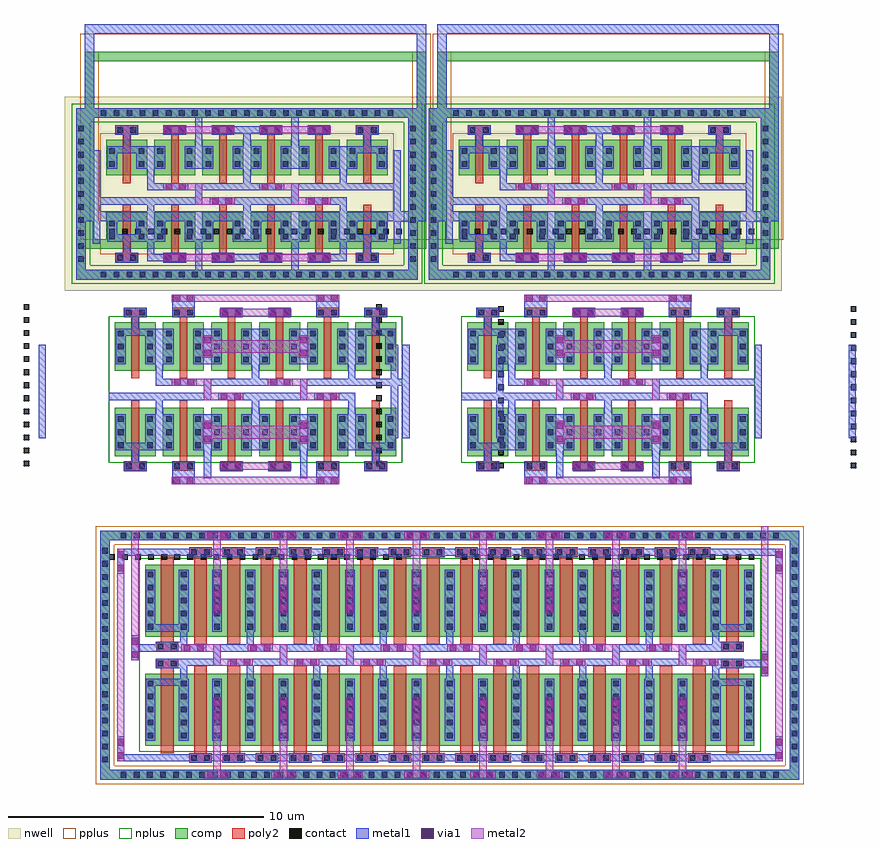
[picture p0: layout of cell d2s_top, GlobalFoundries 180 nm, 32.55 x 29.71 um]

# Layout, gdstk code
from math import pi, radians
import gdstk
lib = gdstk.Library(unit=1e-6, precision=5e-09)
def R(c, l, rs):  # rectangles x0, y0, x1, y1
    for r in rs: c.add(gdstk.rectangle(r[:2], r[2:], *l))
def A(c, l, x, y, w, h, nx, ny, dx, dy):  # array of equal rectangles
    R(c, l, [(x+i*dx, y+j*dy, x+i*dx+w, y+j*dy+h) for i in range(nx) for j in range(ny)])
nwell = (21, 0)
comp = (22, 0)
poly2 = (30, 0)
pplus = (31, 0)
nplus = (32, 0)
contact = (33, 0)
metal1 = (34, 0)
via1 = (35, 0)
metal2 = (36, 0)

d2s_ncell_1_1_1 = lib.new_cell('d2s_ncell_1$1$1')
R(d2s_ncell_1_1_1, comp, [(0,0.3,0.46,2.2), (0.46,0.3,1.14,2.2), (1.14,0.3,1.6,2.2)])
R(d2s_ncell_1_1_1, poly2, [(0.65,0,0.95,2.5)])
A(d2s_ncell_1_1_1, contact, 0.12, 0.63, 0.22, 0.22, 1, 3, 0, 0.51)
A(d2s_ncell_1_1_1, contact, 1.26, 0.63, 0.22, 0.22, 1, 3, 0, 0.51)
R(d2s_ncell_1_1_1, metal1, [(0.04,0.55,0.42,1.95), (1.18,0.55,1.56,1.95)])

d2s_ncell_4_1 = lib.new_cell('d2s_ncell_4$1')
A(d2s_ncell_4_1, poly2, 0.365, 2.4, 0.87, 0.36, 6, 1, 1.88, 0)
R(d2s_ncell_4_1, contact, [(0.435,2.47,0.655,2.69), (0.945,2.47,1.165,2.69), (2.315,2.47,2.535,2.69), (2.825,2.47,3.045,2.69), (4.195,2.47,4.415,2.69), (4.705,2.47,4.925,2.69), (6.075,2.47,6.295,2.69), (6.585,2.47,6.805,2.69), (7.955,2.47,8.175,2.69), (8.465,2.47,8.685,2.69), (9.835,2.47,10.055,2.69), (10.345,2.47,10.565,2.69)])
A(d2s_ncell_4_1, metal1, 1.56, 0.55, 0.36, 1.4, 5, 1, 1.88, 0)
R(d2s_ncell_4_1, metal1, [(0.355,2.39,1.245,2.77), (2.235,2.39,3.125,3.28), (4.115,2.39,5.005,2.77), (5.995,2.39,6.885,2.77), (7.875,2.39,8.765,3.28), (9.755,2.39,10.645,2.77)])
R(d2s_ncell_4_1, via1, [(3.49,0.86,3.75,1.12), (7.25,0.86,7.51,1.12), (3.49,1.38,3.75,1.64), (7.25,1.38,7.51,1.64), (4.17,2.45,4.43,2.71), (4.69,2.45,4.95,2.71), (6.055,2.45,6.315,2.71), (6.575,2.45,6.835,2.71), (2.29,3.01,2.55,3.27), (2.81,3.01,3.07,3.27), (7.93,3.01,8.19,3.27), (8.45,3.01,8.71,3.27)])
R(d2s_ncell_4_1, metal2, [(3.43,0.805,3.81,1.695), (7.19,0.805,7.57,1.695)])
d2s_ncell_4_1.add(gdstk.FlexPath([(9.82,1.81),(10.58,1.81)], 0.28, ends="flush", simple_path=True, layer=34, datatype=0))  # metal1
d2s_ncell_4_1.add(gdstk.FlexPath([(10.2,2.39),(10.2,1.95)], 0.28, ends="flush", simple_path=True, layer=34, datatype=0))  # metal1
d2s_ncell_4_1.add(gdstk.FlexPath([(0.8,2.39),(0.8,1.95)], 0.28, ends="flush", simple_path=True, layer=34, datatype=0))  # metal1
d2s_ncell_4_1.add(gdstk.FlexPath([(0.42,1.81),(1.18,1.81)], 0.28, ends="flush", simple_path=True, layer=34, datatype=0))  # metal1
d2s_ncell_4_1.add(gdstk.FlexPath([(3.81,1.25),(7.19,1.25)], 0.5, ends="flush", simple_path=True, layer=36, datatype=0))  # metal2
d2s_ncell_4_1.add(gdstk.FlexPath([(6.89,2.58),(4.11,2.58)], 0.28, ends="flush", simple_path=True, layer=36, datatype=0))  # metal2
d2s_ncell_4_1.add(gdstk.FlexPath([(8.77,3.14),(2.23,3.14)], 0.28, ends="flush", simple_path=True, layer=36, datatype=0))  # metal2
d2s_ncell_4_1.add(gdstk.Reference(d2s_ncell_1_1_1, (0,0)))
d2s_ncell_4_1.add(gdstk.Reference(d2s_ncell_1_1_1, (1.88,0)))
d2s_ncell_4_1.add(gdstk.Reference(d2s_ncell_1_1_1, (3.76,0)))
d2s_ncell_4_1.add(gdstk.Reference(d2s_ncell_1_1_1, (5.64,0)))
d2s_ncell_4_1.add(gdstk.Reference(d2s_ncell_1_1_1, (7.52,0)))
d2s_ncell_4_1.add(gdstk.Reference(d2s_ncell_1_1_1, (9.4,0)))

d2s_ncell_top = lib.new_cell('d2s_ncell_top')
R(d2s_ncell_top, nplus, [(1.11,1.16,12.59,6.89)])
A(d2s_ncell_top, contact, 1.13, -2.64, 0.22, 0.22, 23, 2, 0.51, 12.73)
A(d2s_ncell_top, contact, 16.34, 0.935, 0.22, 0.22, 1, 13, 0, 0.51)
A(d2s_ncell_top, contact, -2.215, 1.015, 0.22, 0.22, 1, 13, 0, 0.51)
R(d2s_ncell_top, via1, [(5.49,3.615,5.75,3.875), (6.01,3.615,6.27,3.875), (9.25,3.615,9.51,3.875), (9.77,3.615,10.03,3.875), (3.67,4.175,3.93,4.435), (4.19,4.175,4.45,4.435), (7.43,4.175,7.69,4.435), (7.95,4.175,8.21,4.435)])
d2s_ncell_top.add(gdstk.FlexPath([(16.4,5.76),(16.4,2.11)], 0.28, ends="flush", simple_path=True, layer=34, datatype=0))  # metal1
d2s_ncell_top.add(gdstk.FlexPath([(-1.495,5.76),(-1.495,2.11)], 0.28, ends="flush", simple_path=True, layer=34, datatype=0))  # metal1
d2s_ncell_top.add(gdstk.FlexPath([(13.34,18.31),(13.34,10.79),(0.36,10.79),(0.36,18.12),(13.53,18.12)], 0.38, ends="flush", simple_path=True, layer=34, datatype=0))  # metal1
d2s_ncell_top.add(gdstk.FlexPath([(10.61,5),(10.61,4.445)], 0.28, ends="flush", simple_path=True, layer=34, datatype=0))  # metal1
d2s_ncell_top.add(gdstk.FlexPath([(6.85,5),(6.85,4.445)], 0.28, ends="flush", simple_path=True, layer=34, datatype=0))  # metal1
d2s_ncell_top.add(gdstk.FlexPath([(3.09,5),(3.09,4.445)], 0.28, ends="flush", simple_path=True, layer=34, datatype=0))  # metal1
d2s_ncell_top.add(gdstk.FlexPath([(6.37,4.305),(4.97,4.305),(4.97,3.745),(3.57,3.745)], 0.28, ends="flush", simple_path=True, layer=34, datatype=0))  # metal1
d2s_ncell_top.add(gdstk.FlexPath([(4.55,4.305),(3.57,4.305)], 0.28, ends="flush", simple_path=True, layer=34, datatype=0))  # metal1
d2s_ncell_top.add(gdstk.FlexPath([(6.37,3.745),(5.39,3.745)], 0.28, ends="flush", simple_path=True, layer=34, datatype=0))  # metal1
d2s_ncell_top.add(gdstk.FlexPath([(6.37,4.305),(7.33,4.305)], 0.28, ends="flush", simple_path=True, layer=34, datatype=0))  # metal1
d2s_ncell_top.add(gdstk.FlexPath([(6.37,3.745),(7.33,3.745)], 0.28, ends="flush", simple_path=True, layer=34, datatype=0))  # metal1
d2s_ncell_top.add(gdstk.FlexPath([(3.57,4.305),(2.95,4.305)], 0.28, ends="flush", simple_path=True, layer=34, datatype=0))  # metal1
d2s_ncell_top.add(gdstk.FlexPath([(3.57,3.745),(2.95,3.745)], 0.28, ends="flush", simple_path=True, layer=34, datatype=0))  # metal1
d2s_ncell_top.add(gdstk.FlexPath([(6.85,5),(6.85,4.445)], 0.28, ends="flush", simple_path=True, layer=34, datatype=0))  # metal1
d2s_ncell_top.add(gdstk.FlexPath([(10.13,4.305),(8.73,4.305),(8.73,3.745),(7.33,3.745)], 0.28, ends="flush", simple_path=True, layer=34, datatype=0))  # metal1
d2s_ncell_top.add(gdstk.FlexPath([(8.31,4.305),(7.33,4.305)], 0.28, ends="flush", simple_path=True, layer=34, datatype=0))  # metal1
d2s_ncell_top.add(gdstk.FlexPath([(10.13,3.745),(9.15,3.745)], 0.28, ends="flush", simple_path=True, layer=34, datatype=0))  # metal1
d2s_ncell_top.add(gdstk.FlexPath([(10.75,4.305),(10.13,4.305)], 0.28, ends="flush", simple_path=True, layer=34, datatype=0))  # metal1
d2s_ncell_top.add(gdstk.FlexPath([(10.75,3.745),(10.13,3.745)], 0.28, ends="flush", simple_path=True, layer=34, datatype=0))  # metal1
d2s_ncell_top.add(gdstk.FlexPath([(10.61,3.605),(10.61,3.05)], 0.28, ends="flush", simple_path=True, layer=34, datatype=0))  # metal1
d2s_ncell_top.add(gdstk.FlexPath([(6.85,3.605),(6.85,3.05)], 0.28, ends="flush", simple_path=True, layer=34, datatype=0))  # metal1
d2s_ncell_top.add(gdstk.FlexPath([(3.09,3.605),(3.09,3.05)], 0.28, ends="flush", simple_path=True, layer=34, datatype=0))  # metal1
d2s_ncell_top.add(gdstk.FlexPath([(6.85,3.605),(6.85,3.05)], 0.28, ends="flush", simple_path=True, layer=34, datatype=0))  # metal1
d2s_ncell_top.add(gdstk.FlexPath([(10.75,4.305),(12.59,4.305)], 0.28, ends="flush", simple_path=True, layer=34, datatype=0))  # metal1
d2s_ncell_top.add(gdstk.FlexPath([(1.11,3.745),(2.95,3.745)], 0.28, ends="flush", simple_path=True, layer=34, datatype=0))  # metal1
d2s_ncell_top.add(gdstk.FlexPath([(12.73,5.76),(12.73,2.11)], 0.28, ends="flush", simple_path=True, layer=34, datatype=0))  # metal1
d2s_ncell_top.add(gdstk.FlexPath([(8.73,0.55),(8.73,1.65)], 0.28, ends="flush", simple_path=True, layer=34, datatype=0))  # metal1
d2s_ncell_top.add(gdstk.FlexPath([(4.97,0.55),(4.97,1.65)], 0.28, ends="flush", simple_path=True, layer=34, datatype=0))  # metal1
d2s_ncell_top.add(gdstk.FlexPath([(13.34,17.23),(13.34,9.71),(0.36,9.71),(0.36,17.04),(13.53,17.04)], 0.38, ends="flush", simple_path=True, layer=22, datatype=0))  # comp
d2s_ncell_top.add(gdstk.FlexPath([(10.13,3.745),(8.73,3.745),(8.73,4.305),(7.33,4.305)], 0.28, ends="flush", simple_path=True, layer=36, datatype=0))  # metal2
d2s_ncell_top.add(gdstk.FlexPath([(6.37,3.745),(4.97,3.745),(4.97,4.305),(3.57,4.305)], 0.28, ends="flush", simple_path=True, layer=36, datatype=0))  # metal2
d2s_ncell_top.add(gdstk.FlexPath([(13.34,17.925),(13.34,10.235),(0.36,10.235),(0.36,17.565),(13.7,17.565)], 0.72, ends="flush", simple_path=True, layer=31, datatype=0))  # pplus
d2s_ncell_top.add(gdstk.Reference(d2s_ncell_4_1, (1.35,4.45)))
d2s_ncell_top.add(gdstk.Reference(d2s_ncell_4_1, (1.35,3.6), x_reflection=True))

d2s_pcell_1_1_1 = lib.new_cell('d2s_pcell_1$1$1')
R(d2s_pcell_1_1_1, comp, [(0,0.3,0.46,1.7), (0.46,0.3,1.14,1.7), (1.14,0.3,1.6,1.7)])
R(d2s_pcell_1_1_1, poly2, [(0.65,0,0.95,2)])
R(d2s_pcell_1_1_1, contact, [(0.12,0.635,0.34,0.855), (1.26,0.635,1.48,0.855), (0.12,1.145,0.34,1.365), (1.26,1.145,1.48,1.365)])
R(d2s_pcell_1_1_1, metal1, [(0.04,0.555,0.42,1.445), (1.18,0.555,1.56,1.445)])

d2s_pcell_4_1 = lib.new_cell('d2s_pcell_4$1')
A(d2s_pcell_4_1, poly2, 0.365, 1.9, 0.87, 0.36, 6, 1, 1.88, 0)
R(d2s_pcell_4_1, contact, [(0.435,1.97,0.655,2.19), (0.945,1.97,1.165,2.19), (2.315,1.97,2.535,2.19), (2.825,1.97,3.045,2.19), (4.195,1.97,4.415,2.19), (4.705,1.97,4.925,2.19), (6.075,1.97,6.295,2.19), (6.585,1.97,6.805,2.19), (7.955,1.97,8.175,2.19), (8.465,1.97,8.685,2.19), (9.835,1.97,10.055,2.19), (10.345,1.97,10.565,2.19)])
A(d2s_pcell_4_1, metal1, 1.56, 0.555, 0.36, 0.89, 5, 1, 1.88, 0)
A(d2s_pcell_4_1, metal1, 0.355, 1.89, 0.89, 0.38, 6, 1, 1.88, 0)
R(d2s_pcell_4_1, via1, [(2.29,1.95,2.55,2.21), (2.81,1.95,3.07,2.21), (4.17,1.95,4.43,2.21), (4.69,1.95,4.95,2.21), (6.05,1.95,6.31,2.21), (6.57,1.95,6.83,2.21), (7.93,1.95,8.19,2.21), (8.45,1.95,8.71,2.21)])
d2s_pcell_4_1.add(gdstk.FlexPath([(10.2,1.89),(10.2,1.445)], 0.28, ends="flush", simple_path=True, layer=34, datatype=0))  # metal1
d2s_pcell_4_1.add(gdstk.FlexPath([(9.82,1.305),(10.58,1.305)], 0.28, ends="flush", simple_path=True, layer=34, datatype=0))  # metal1
d2s_pcell_4_1.add(gdstk.FlexPath([(0.8,1.89),(0.8,1.445)], 0.28, ends="flush", simple_path=True, layer=34, datatype=0))  # metal1
d2s_pcell_4_1.add(gdstk.FlexPath([(1.18,1.305),(0.42,1.305)], 0.28, ends="flush", simple_path=True, layer=34, datatype=0))  # metal1
d2s_pcell_4_1.add(gdstk.FlexPath([(5.01,2.08),(2.23,2.08)], 0.28, ends="flush", simple_path=True, layer=36, datatype=0))  # metal2
d2s_pcell_4_1.add(gdstk.FlexPath([(8.77,2.08),(5.99,2.08)], 0.28, ends="flush", simple_path=True, layer=36, datatype=0))  # metal2
d2s_pcell_4_1.add(gdstk.Reference(d2s_pcell_1_1_1, (1.88,0)))
d2s_pcell_4_1.add(gdstk.Reference(d2s_pcell_1_1_1, (3.76,0)))
d2s_pcell_4_1.add(gdstk.Reference(d2s_pcell_1_1_1, (5.64,0)))
d2s_pcell_4_1.add(gdstk.Reference(d2s_pcell_1_1_1, (7.52,0)))
d2s_pcell_4_1.add(gdstk.Reference(d2s_pcell_1_1_1, (9.4,0)))
d2s_pcell_4_1.add(gdstk.Reference(d2s_pcell_1_1_1, (1.6,0), rotation=pi, x_reflection=True))

d2s_pcell_top = lib.new_cell('d2s_pcell_top')
R(d2s_pcell_top, nwell, [(0,0,14.24,7.58)])
R(d2s_pcell_top, pplus, [(1.38,1.43,12.86,6.15)])
A(d2s_pcell_top, contact, 1.4, 0.52, 0.22, 0.22, 23, 2, 0.51, 6.32)
A(d2s_pcell_top, contact, 0.52, 1.13, 0.22, 0.22, 1, 11, 0, 0.51)
A(d2s_pcell_top, contact, 13.5, 1.13, 0.22, 0.22, 1, 11, 0, 0.51)
R(d2s_pcell_top, via1, [(5.76,3.38,6.02,3.64), (6.28,3.38,6.54,3.64), (9.52,3.38,9.78,3.64), (10.04,3.38,10.3,3.64), (3.94,3.94,4.2,4.2), (4.46,3.94,4.72,4.2), (7.7,3.94,7.96,4.2), (8.22,3.94,8.48,4.2)])
d2s_pcell_top.add(gdstk.FlexPath([(13.61,7.14),(13.61,0.63),(0.63,0.63),(0.63,6.95),(13.42,6.95)], 0.38, ends="flush", simple_path=True, layer=34, datatype=0))  # metal1
d2s_pcell_top.add(gdstk.FlexPath([(10.88,4.765),(10.88,4.21)], 0.28, ends="flush", simple_path=True, layer=34, datatype=0))  # metal1
d2s_pcell_top.add(gdstk.FlexPath([(7.12,4.765),(7.12,4.21)], 0.28, ends="flush", simple_path=True, layer=34, datatype=0))  # metal1
d2s_pcell_top.add(gdstk.FlexPath([(3.36,4.765),(3.36,4.21)], 0.28, ends="flush", simple_path=True, layer=34, datatype=0))  # metal1
d2s_pcell_top.add(gdstk.FlexPath([(6.64,4.07),(5.24,4.07),(5.24,3.51),(3.84,3.51)], 0.28, ends="flush", simple_path=True, layer=34, datatype=0))  # metal1
d2s_pcell_top.add(gdstk.FlexPath([(4.82,4.07),(3.84,4.07)], 0.28, ends="flush", simple_path=True, layer=34, datatype=0))  # metal1
d2s_pcell_top.add(gdstk.FlexPath([(6.64,3.51),(5.66,3.51)], 0.28, ends="flush", simple_path=True, layer=34, datatype=0))  # metal1
d2s_pcell_top.add(gdstk.FlexPath([(6.64,4.07),(7.6,4.07)], 0.28, ends="flush", simple_path=True, layer=34, datatype=0))  # metal1
d2s_pcell_top.add(gdstk.FlexPath([(6.64,3.51),(7.6,3.51)], 0.28, ends="flush", simple_path=True, layer=34, datatype=0))  # metal1
d2s_pcell_top.add(gdstk.FlexPath([(3.84,4.07),(3.22,4.07)], 0.28, ends="flush", simple_path=True, layer=34, datatype=0))  # metal1
d2s_pcell_top.add(gdstk.FlexPath([(3.84,3.51),(3.22,3.51)], 0.28, ends="flush", simple_path=True, layer=34, datatype=0))  # metal1
d2s_pcell_top.add(gdstk.FlexPath([(7.12,4.765),(7.12,4.21)], 0.28, ends="flush", simple_path=True, layer=34, datatype=0))  # metal1
d2s_pcell_top.add(gdstk.FlexPath([(10.4,4.07),(9,4.07),(9,3.51),(7.6,3.51)], 0.28, ends="flush", simple_path=True, layer=34, datatype=0))  # metal1
d2s_pcell_top.add(gdstk.FlexPath([(7.12,5.655),(7.12,6.15)], 0.28, ends="flush", simple_path=True, layer=34, datatype=0))  # metal1
d2s_pcell_top.add(gdstk.FlexPath([(10.385,1.29),(10.88,1.29),(10.88,1.925)], 0.28, ends="flush", simple_path=True, layer=34, datatype=0))  # metal1
d2s_pcell_top.add(gdstk.FlexPath([(3.855,1.29),(3.36,1.29),(3.36,1.925)], 0.28, ends="flush", simple_path=True, layer=34, datatype=0))  # metal1
d2s_pcell_top.add(gdstk.FlexPath([(8.58,4.07),(7.6,4.07)], 0.28, ends="flush", simple_path=True, layer=34, datatype=0))  # metal1
d2s_pcell_top.add(gdstk.FlexPath([(10.4,3.51),(9.42,3.51)], 0.28, ends="flush", simple_path=True, layer=34, datatype=0))  # metal1
d2s_pcell_top.add(gdstk.FlexPath([(11.02,4.07),(10.4,4.07)], 0.28, ends="flush", simple_path=True, layer=34, datatype=0))  # metal1
d2s_pcell_top.add(gdstk.FlexPath([(11.02,3.51),(10.4,3.51)], 0.28, ends="flush", simple_path=True, layer=34, datatype=0))  # metal1
d2s_pcell_top.add(gdstk.FlexPath([(10.88,3.37),(10.88,2.815)], 0.28, ends="flush", simple_path=True, layer=34, datatype=0))  # metal1
d2s_pcell_top.add(gdstk.FlexPath([(7.12,3.37),(7.12,2.815)], 0.28, ends="flush", simple_path=True, layer=34, datatype=0))  # metal1
d2s_pcell_top.add(gdstk.FlexPath([(3.36,3.37),(3.36,2.815)], 0.28, ends="flush", simple_path=True, layer=34, datatype=0))  # metal1
d2s_pcell_top.add(gdstk.FlexPath([(7.12,3.37),(7.12,2.815)], 0.28, ends="flush", simple_path=True, layer=34, datatype=0))  # metal1
d2s_pcell_top.add(gdstk.FlexPath([(7.615,6.29),(6.625,6.29)], 0.28, ends="flush", simple_path=True, layer=34, datatype=0))  # metal1
d2s_pcell_top.add(gdstk.FlexPath([(7.615,1.29),(6.625,1.29)], 0.28, ends="flush", simple_path=True, layer=34, datatype=0))  # metal1
d2s_pcell_top.add(gdstk.FlexPath([(5.24,1.925),(5.24,0.82)], 0.28, ends="flush", simple_path=True, layer=34, datatype=0))  # metal1
d2s_pcell_top.add(gdstk.FlexPath([(9,1.925),(9,0.82)], 0.28, ends="flush", simple_path=True, layer=34, datatype=0))  # metal1
d2s_pcell_top.add(gdstk.FlexPath([(5.24,6.76),(5.24,5.655)], 0.28, ends="flush", simple_path=True, layer=34, datatype=0))  # metal1
d2s_pcell_top.add(gdstk.FlexPath([(9,6.76),(9,5.655)], 0.28, ends="flush", simple_path=True, layer=34, datatype=0))  # metal1
d2s_pcell_top.add(gdstk.FlexPath([(11.02,4.07),(12.86,4.07)], 0.28, ends="flush", simple_path=True, layer=34, datatype=0))  # metal1
d2s_pcell_top.add(gdstk.FlexPath([(13,5.495),(13,1.845)], 0.28, ends="flush", simple_path=True, layer=34, datatype=0))  # metal1
d2s_pcell_top.add(gdstk.FlexPath([(1.38,3.51),(3.22,3.51)], 0.28, ends="flush", simple_path=True, layer=34, datatype=0))  # metal1
d2s_pcell_top.add(gdstk.FlexPath([(1.24,5.495),(1.24,1.845)], 0.28, ends="flush", simple_path=True, layer=34, datatype=0))  # metal1
d2s_pcell_top.add(gdstk.FlexPath([(13.61,7.14),(13.61,0.63),(0.63,0.63),(0.63,6.95),(13.42,6.95)], 0.38, ends="flush", simple_path=True, layer=22, datatype=0))  # comp
d2s_pcell_top.add(gdstk.FlexPath([(10.4,3.51),(9,3.51),(9,4.07),(7.6,4.07)], 0.28, ends="flush", simple_path=True, layer=36, datatype=0))  # metal2
d2s_pcell_top.add(gdstk.FlexPath([(6.64,3.51),(5.24,3.51),(5.24,4.07),(3.84,4.07)], 0.28, ends="flush", simple_path=True, layer=36, datatype=0))  # metal2
d2s_pcell_top.add(gdstk.FlexPath([(13.61,7.31),(13.61,0.63),(0.63,0.63),(0.63,6.95),(13.97,6.95)], 0.72, ends="flush", simple_path=True, layer=32, datatype=0))  # nplus
d2s_pcell_top.add(gdstk.Reference(d2s_pcell_4_1, (1.62,4.21)))
d2s_pcell_top.add(gdstk.Reference(d2s_pcell_4_1, (1.62,3.37), x_reflection=True))

m1_m2 = lib.new_cell('M1_M2')
R(m1_m2, via1, [(0.1,0.01,0.36,0.27), (0.62,0.01,0.88,0.27)])
m1_m2.add(gdstk.FlexPath([(0,0.14),(0.98,0.14)], 0.28, ends="flush", simple_path=True, layer=34, datatype=0))  # metal1
m1_m2.add(gdstk.FlexPath([(0,0.14),(0.98,0.14)], 0.28, ends="flush", simple_path=True, layer=36, datatype=0))  # metal2

d2s_tail_current_ncell_1 = lib.new_cell('d2s_tail_current_ncell_1$1$1$1')
R(d2s_tail_current_ncell_1, comp, [(0,0.3,0.42,3.12), (0.42,0.3,1.3,3.12), (1.3,0.3,1.72,3.12)])
R(d2s_tail_current_ncell_1, poly2, [(0.61,0,1.11,3.42)])
A(d2s_tail_current_ncell_1, contact, 0.1, 0.58, 0.22, 0.22, 1, 5, 0, 0.51)
A(d2s_tail_current_ncell_1, contact, 1.4, 0.58, 0.22, 0.22, 1, 5, 0, 0.51)
R(d2s_tail_current_ncell_1, metal1, [(0.02,0.5,0.4,2.92), (1.32,0.5,1.7,2.92)])

d2s_tail_current_ncell_4 = lib.new_cell('d2s_tail_current_ncell_4$1$1')
A(d2s_tail_current_ncell_4, poly2, 0.425, 3.42, 0.87, 0.36, 4, 1, 1.3, 0)
R(d2s_tail_current_ncell_4, contact, [(0.495,3.49,0.715,3.71), (1.005,3.49,1.225,3.71), (1.795,3.49,2.015,3.71), (2.305,3.49,2.525,3.71), (3.095,3.49,3.315,3.71), (3.605,3.49,3.825,3.71), (4.395,3.49,4.615,3.71), (4.905,3.49,5.125,3.71)])
A(d2s_tail_current_ncell_4, metal1, 0.415, 3.41, 0.89, 0.38, 4, 1, 1.3, 0)
d2s_tail_current_ncell_4.add(gdstk.Reference(d2s_tail_current_ncell_1, (0,0)))
d2s_tail_current_ncell_4.add(gdstk.Reference(d2s_tail_current_ncell_1, (1.3,0)))
d2s_tail_current_ncell_4.add(gdstk.Reference(d2s_tail_current_ncell_1, (2.6,0)))
d2s_tail_current_ncell_4.add(gdstk.Reference(d2s_tail_current_ncell_1, (3.9,0)))

c_d2s_tail_current_ncell_4 = lib.new_cell('d2s_tail_current_ncell_4_4$1')
R(c_d2s_tail_current_ncell_4, via1, [(1.12,0.23,1.38,0.49), (1.64,0.23,1.9,0.49), (3.72,0.23,3.98,0.49), (4.24,0.23,4.5,0.49), (1.38,2.52,1.64,2.78), (3.98,2.52,4.24,2.78), (1.38,3.04,1.64,3.3), (3.98,3.04,4.24,3.3), (2.03,4.63,2.29,4.89), (2.55,4.63,2.81,4.89), (4.63,4.63,4.89,4.89), (5.15,4.63,5.41,4.89), (0.21,5.19,0.47,5.45), (0.73,5.19,0.99,5.45), (2.81,5.19,3.07,5.45), (3.33,5.19,3.59,5.45), (1.38,6.78,1.64,7.04), (3.98,6.78,4.24,7.04), (1.38,7.3,1.64,7.56), (3.98,7.3,4.24,7.56), (1.12,9.59,1.38,9.85), (1.64,9.59,1.9,9.85), (3.72,9.59,3.98,9.85), (4.24,9.59,4.5,9.85)])
c_d2s_tail_current_ncell_4.add(gdstk.FlexPath([(1.305,1.02),(5.41,1.02)], 0.28, ends="flush", simple_path=True, layer=34, datatype=0))  # metal1
c_d2s_tail_current_ncell_4.add(gdstk.FlexPath([(2.81,5.96),(2.81,5.46)], 0.28, ends="flush", simple_path=True, layer=34, datatype=0))  # metal1
c_d2s_tail_current_ncell_4.add(gdstk.FlexPath([(0.21,9.72),(5.41,9.72)], 0.38, ends="flush", simple_path=True, layer=34, datatype=0))  # metal1
c_d2s_tail_current_ncell_4.add(gdstk.FlexPath([(2.81,4.12),(2.81,4.62)], 0.28, ends="flush", simple_path=True, layer=34, datatype=0))  # metal1
c_d2s_tail_current_ncell_4.add(gdstk.FlexPath([(0.21,4.12),(0.21,4.62)], 0.28, ends="flush", simple_path=True, layer=34, datatype=0))  # metal1
c_d2s_tail_current_ncell_4.add(gdstk.FlexPath([(0.21,5.96),(0.21,5.46)], 0.28, ends="flush", simple_path=True, layer=34, datatype=0))  # metal1
c_d2s_tail_current_ncell_4.add(gdstk.FlexPath([(2.91,5.32),(1.51,5.32),(1.51,4.76),(0.07,4.76)], 0.28, ends="flush", simple_path=True, layer=34, datatype=0))  # metal1
c_d2s_tail_current_ncell_4.add(gdstk.FlexPath([(1.09,5.32),(0.07,5.32)], 0.28, ends="flush", simple_path=True, layer=34, datatype=0))  # metal1
c_d2s_tail_current_ncell_4.add(gdstk.FlexPath([(5.41,4.12),(5.41,4.62)], 0.28, ends="flush", simple_path=True, layer=34, datatype=0))  # metal1
c_d2s_tail_current_ncell_4.add(gdstk.FlexPath([(5.55,5.32),(4.11,5.32),(4.11,4.76),(2.71,4.76)], 0.28, ends="flush", simple_path=True, layer=34, datatype=0))  # metal1
c_d2s_tail_current_ncell_4.add(gdstk.FlexPath([(3.69,5.32),(2.71,5.32)], 0.28, ends="flush", simple_path=True, layer=34, datatype=0))  # metal1
c_d2s_tail_current_ncell_4.add(gdstk.FlexPath([(5.41,5.96),(5.41,5.46)], 0.28, ends="flush", simple_path=True, layer=34, datatype=0))  # metal1
c_d2s_tail_current_ncell_4.add(gdstk.FlexPath([(2.81,4.12),(2.81,4.62)], 0.28, ends="flush", simple_path=True, layer=34, datatype=0))  # metal1
c_d2s_tail_current_ncell_4.add(gdstk.FlexPath([(5.55,4.76),(4.53,4.76)], 0.28, ends="flush", simple_path=True, layer=34, datatype=0))  # metal1
c_d2s_tail_current_ncell_4.add(gdstk.FlexPath([(2.81,5.96),(2.81,5.46)], 0.28, ends="flush", simple_path=True, layer=34, datatype=0))  # metal1
c_d2s_tail_current_ncell_4.add(gdstk.FlexPath([(2.91,4.76),(1.93,4.76)], 0.28, ends="flush", simple_path=True, layer=34, datatype=0))  # metal1
c_d2s_tail_current_ncell_4.add(gdstk.FlexPath([(1.305,9.06),(5.41,9.06)], 0.28, ends="flush", simple_path=True, layer=34, datatype=0))  # metal1
c_d2s_tail_current_ncell_4.add(gdstk.FlexPath([(0.21,0.36),(5.41,0.36)], 0.38, ends="flush", simple_path=True, layer=34, datatype=0))  # metal1
c_d2s_tail_current_ncell_4.add(gdstk.FlexPath([(0.21,9.72),(5.41,9.72)], 0.38, ends="flush", simple_path=True, layer=22, datatype=0))  # comp
c_d2s_tail_current_ncell_4.add(gdstk.FlexPath([(0.21,0.36),(5.41,0.36)], 0.38, ends="flush", simple_path=True, layer=22, datatype=0))  # comp
c_d2s_tail_current_ncell_4.add(gdstk.FlexPath([(2.91,4.76),(1.51,4.76),(1.51,5.32),(0.11,5.32)], 0.28, ends="flush", simple_path=True, layer=36, datatype=0))  # metal2
c_d2s_tail_current_ncell_4.add(gdstk.FlexPath([(5.51,4.76),(4.11,4.76),(4.11,5.32),(2.71,5.32)], 0.28, ends="flush", simple_path=True, layer=36, datatype=0))  # metal2
c_d2s_tail_current_ncell_4.add(gdstk.FlexPath([(4.11,6.68),(4.11,7.66)], 0.28, ends="flush", simple_path=True, layer=36, datatype=0))  # metal2
c_d2s_tail_current_ncell_4.add(gdstk.FlexPath([(1.51,6.68),(1.51,7.66)], 0.28, ends="flush", simple_path=True, layer=36, datatype=0))  # metal2
c_d2s_tail_current_ncell_4.add(gdstk.FlexPath([(4.11,2.42),(4.11,3.4)], 0.28, ends="flush", simple_path=True, layer=36, datatype=0))  # metal2
c_d2s_tail_current_ncell_4.add(gdstk.FlexPath([(1.51,2.42),(1.51,3.4)], 0.28, ends="flush", simple_path=True, layer=36, datatype=0))  # metal2
c_d2s_tail_current_ncell_4.add(gdstk.FlexPath([(1.02,9.72),(2,9.72)], 0.28, ends="flush", simple_path=True, layer=36, datatype=0))  # metal2
c_d2s_tail_current_ncell_4.add(gdstk.FlexPath([(1.51,7.66),(1.51,9.58)], 0.28, ends="flush", simple_path=True, layer=36, datatype=0))  # metal2
c_d2s_tail_current_ncell_4.add(gdstk.FlexPath([(4.11,7.66),(4.11,9.58)], 0.28, ends="flush", simple_path=True, layer=36, datatype=0))  # metal2
c_d2s_tail_current_ncell_4.add(gdstk.FlexPath([(3.62,9.72),(4.6,9.72)], 0.28, ends="flush", simple_path=True, layer=36, datatype=0))  # metal2
c_d2s_tail_current_ncell_4.add(gdstk.FlexPath([(1.02,0.36),(2,0.36)], 0.28, ends="flush", simple_path=True, layer=36, datatype=0))  # metal2
c_d2s_tail_current_ncell_4.add(gdstk.FlexPath([(1.51,2.42),(1.51,0.5)], 0.28, ends="flush", simple_path=True, layer=36, datatype=0))  # metal2
c_d2s_tail_current_ncell_4.add(gdstk.FlexPath([(4.11,2.42),(4.11,0.5)], 0.28, ends="flush", simple_path=True, layer=36, datatype=0))  # metal2
c_d2s_tail_current_ncell_4.add(gdstk.FlexPath([(3.62,0.36),(4.6,0.36)], 0.28, ends="flush", simple_path=True, layer=36, datatype=0))  # metal2
c_d2s_tail_current_ncell_4.add(gdstk.FlexPath([(0.21,9.72),(5.41,9.72)], 0.72, ends="flush", simple_path=True, layer=31, datatype=0))  # pplus
c_d2s_tail_current_ncell_4.add(gdstk.FlexPath([(0.21,0.36),(5.41,0.36)], 0.72, ends="flush", simple_path=True, layer=31, datatype=0))  # pplus
c_d2s_tail_current_ncell_4.add(gdstk.Reference(d2s_tail_current_ncell_4, (0,5.46)))
c_d2s_tail_current_ncell_4.add(gdstk.Reference(d2s_tail_current_ncell_4, (0,4.62), x_reflection=True))

c_d2s_tail_current_ncell_1 = lib.new_cell('d2s_tail_current_ncell_1$2')
R(c_d2s_tail_current_ncell_1, comp, [(0,0.3,0.42,3.12), (0.42,0.3,1.3,3.12), (1.3,0.3,1.72,3.12)])
R(c_d2s_tail_current_ncell_1, poly2, [(0.61,0,1.11,3.42)])
A(c_d2s_tail_current_ncell_1, contact, 0.1, 0.58, 0.22, 0.22, 1, 5, 0, 0.51)
A(c_d2s_tail_current_ncell_1, contact, 1.4, 0.58, 0.22, 0.22, 1, 5, 0, 0.51)
R(c_d2s_tail_current_ncell_1, metal1, [(0.02,0.5,0.4,2.92), (1.32,0.5,1.7,2.92)])

d2s_tail_current_top = lib.new_cell('d2s_tail_current_top')
R(d2s_tail_current_top, poly2, [(2.355,4.53,3.225,4.89), (24.455,4.53,25.325,4.89), (2.355,5.19,3.225,5.55), (24.455,5.19,25.325,5.55)])
R(d2s_tail_current_top, nplus, [(1.69,1.26,25.99,8.82)])
A(d2s_tail_current_top, contact, 0.98, 0.25, 0.22, 0.22, 51, 2, 0.51, 9.36)
A(d2s_tail_current_top, contact, 0.25, 0.85, 0.22, 0.22, 1, 17, 0, 0.51)
A(d2s_tail_current_top, contact, 27.21, 0.85, 0.22, 0.22, 1, 17, 0, 0.51)
R(d2s_tail_current_top, contact, [(2.425,4.6,2.645,4.82), (2.935,4.6,3.155,4.82), (24.525,4.6,24.745,4.82), (25.035,4.6,25.255,4.82), (2.425,5.26,2.645,5.48), (2.935,5.26,3.155,5.48), (24.525,5.26,24.745,5.48), (25.035,5.26,25.255,5.48)])
R(d2s_tail_current_top, metal1, [(2.345,4.52,3.235,4.9), (3.235,4.52,3.3,4.9), (24.38,4.52,24.445,4.9), (24.445,4.52,25.335,4.9), (2.345,5.18,3.235,5.56), (3.235,5.18,3.3,5.56), (24.38,5.18,24.445,5.56), (24.445,5.18,25.335,5.56)])
d2s_tail_current_top.add(gdstk.FlexPath([(24.24,9.72),(27.32,9.72),(27.32,0.36),(24.24,0.36)], 0.38, ends="flush", simple_path=True, layer=34, datatype=0))  # metal1
d2s_tail_current_top.add(gdstk.FlexPath([(3.44,9.72),(0.36,9.72),(0.36,0.36),(3.44,0.36)], 0.38, ends="flush", simple_path=True, layer=34, datatype=0))  # metal1
d2s_tail_current_top.add(gdstk.FlexPath([(13.635,9.06),(14.045,9.06)], 0.28, ends="flush", simple_path=True, layer=34, datatype=0))  # metal1
d2s_tail_current_top.add(gdstk.FlexPath([(13.635,1.02),(14.045,1.02)], 0.28, ends="flush", simple_path=True, layer=34, datatype=0))  # metal1
d2s_tail_current_top.add(gdstk.FlexPath([(25.35,6.1),(24.43,6.1)], 0.28, ends="flush", simple_path=True, layer=34, datatype=0))  # metal1
d2s_tail_current_top.add(gdstk.FlexPath([(25.35,3.98),(24.43,3.98)], 0.28, ends="flush", simple_path=True, layer=34, datatype=0))  # metal1
d2s_tail_current_top.add(gdstk.FlexPath([(2.33,6.1),(3.25,6.1)], 0.28, ends="flush", simple_path=True, layer=34, datatype=0))  # metal1
d2s_tail_current_top.add(gdstk.FlexPath([(2.33,3.98),(3.25,3.98)], 0.28, ends="flush", simple_path=True, layer=34, datatype=0))  # metal1
d2s_tail_current_top.add(gdstk.FlexPath([(2.345,5.32),(1.67,5.32)], 0.28, ends="flush", simple_path=True, layer=34, datatype=0))  # metal1
d2s_tail_current_top.add(gdstk.FlexPath([(24.035,9.06),(26.85,9.06)], 0.28, ends="flush", simple_path=True, layer=34, datatype=0))  # metal1
d2s_tail_current_top.add(gdstk.FlexPath([(24.035,1.02),(26.85,1.02)], 0.28, ends="flush", simple_path=True, layer=34, datatype=0))  # metal1
d2s_tail_current_top.add(gdstk.FlexPath([(3.645,1.02),(0.83,1.02)], 0.28, ends="flush", simple_path=True, layer=34, datatype=0))  # metal1
d2s_tail_current_top.add(gdstk.FlexPath([(3.645,9.06),(0.83,9.06)], 0.28, ends="flush", simple_path=True, layer=34, datatype=0))  # metal1
d2s_tail_current_top.add(gdstk.FlexPath([(25.335,4.71),(26.01,4.71)], 0.28, ends="flush", simple_path=True, layer=34, datatype=0))  # metal1
d2s_tail_current_top.add(gdstk.FlexPath([(24.24,9.72),(27.32,9.72),(27.32,0.36),(24.24,0.36)], 0.38, ends="flush", simple_path=True, layer=22, datatype=0))  # comp
d2s_tail_current_top.add(gdstk.FlexPath([(3.44,9.72),(0.36,9.72),(0.36,0.36),(3.44,0.36)], 0.38, ends="flush", simple_path=True, layer=22, datatype=0))  # comp
d2s_tail_current_top.add(gdstk.FlexPath([(26.15,10.08),(26.15,4.22)], 0.28, ends="flush", simple_path=True, layer=36, datatype=0))  # metal2
d2s_tail_current_top.add(gdstk.FlexPath([(1.53,9.91),(1.53,4.83)], 0.28, ends="flush", simple_path=True, layer=36, datatype=0))  # metal2
d2s_tail_current_top.add(gdstk.FlexPath([(26.71,9.2),(26.71,0.88)], 0.28, ends="flush", simple_path=True, layer=36, datatype=0))  # metal2
d2s_tail_current_top.add(gdstk.FlexPath([(0.97,9.2),(0.97,0.88)], 0.28, ends="flush", simple_path=True, layer=36, datatype=0))  # metal2
d2s_tail_current_top.add(gdstk.FlexPath([(24.24,9.72),(27.32,9.72),(27.32,0.36),(24.24,0.36)], 0.72, ends="flush", simple_path=True, layer=31, datatype=0))  # pplus
d2s_tail_current_top.add(gdstk.FlexPath([(3.44,9.72),(0.36,9.72),(0.36,0.36),(3.44,0.36)], 0.72, ends="flush", simple_path=True, layer=31, datatype=0))  # pplus
d2s_tail_current_top.add(gdstk.Reference(m1_m2, (26.85,8.22), rotation=pi/2))
d2s_tail_current_top.add(gdstk.Reference(m1_m2, (26.29,4.22), rotation=pi/2))
d2s_tail_current_top.add(gdstk.Reference(m1_m2, (0.83,1.86), rotation=3*pi/2))
d2s_tail_current_top.add(gdstk.Reference(m1_m2, (0.83,8.22), rotation=pi/2, x_reflection=True))
d2s_tail_current_top.add(gdstk.Reference(m1_m2, (1.39,4.83), rotation=pi/2, x_reflection=True))
d2s_tail_current_top.add(gdstk.Reference(m1_m2, (26.85,1.86), rotation=3*pi/2, x_reflection=True))
d2s_tail_current_top.add(gdstk.Reference(c_d2s_tail_current_ncell_4, (13.63,0)))
d2s_tail_current_top.add(gdstk.Reference(c_d2s_tail_current_ncell_4, (3.23,0)))
d2s_tail_current_top.add(gdstk.Reference(c_d2s_tail_current_ncell_4, (14.05,10.08), rotation=pi))
d2s_tail_current_top.add(gdstk.Reference(c_d2s_tail_current_ncell_4, (24.45,10.08), rotation=pi))
d2s_tail_current_top.add(gdstk.Reference(c_d2s_tail_current_ncell_1, (24.03,5.46)))
d2s_tail_current_top.add(gdstk.Reference(c_d2s_tail_current_ncell_1, (24.03,1.2)))
d2s_tail_current_top.add(gdstk.Reference(c_d2s_tail_current_ncell_1, (3.65,5.46), rotation=pi, x_reflection=True))
d2s_tail_current_top.add(gdstk.Reference(c_d2s_tail_current_ncell_1, (3.65,1.2), rotation=pi, x_reflection=True))

d2s_top = lib.new_cell('d2s_top')
d2s_top.add(gdstk.Reference(d2s_ncell_top, (3.015,4.635)))
d2s_top.add(gdstk.Reference(d2s_pcell_top, (2.41,12.515)))
d2s_top.add(gdstk.Reference(d2s_ncell_top, (16.795,4.635)))
d2s_top.add(gdstk.Reference(d2s_pcell_top, (16.19,12.515)))
d2s_top.add(gdstk.Reference(d2s_tail_current_top, (3.62,-6.77)))

lib.write_gds('d2s_top.gds')
